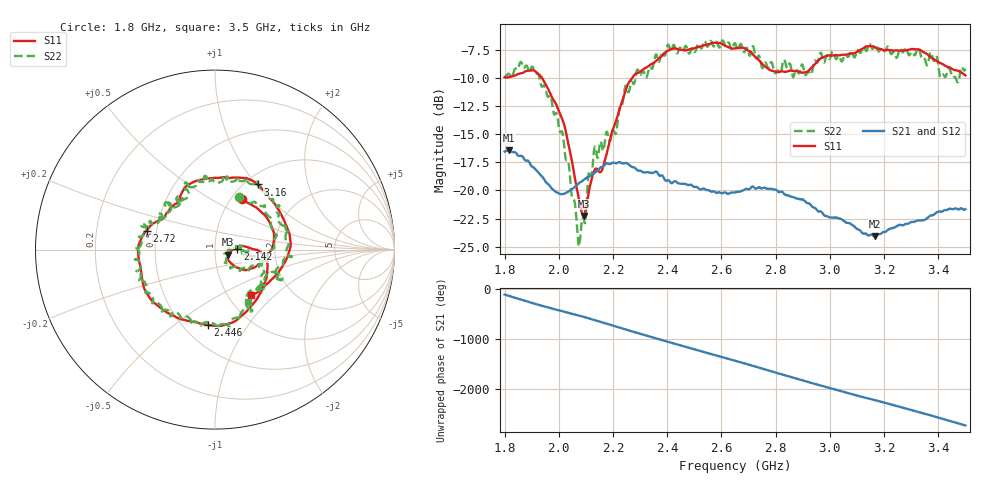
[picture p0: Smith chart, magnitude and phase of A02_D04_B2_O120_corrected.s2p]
! Created with skrf 1.9.0 (http://scikit-rf.org).
# Hz S RI R 50.0
!freq ReS11 ImS11 ReS21 ImS21 ReS12 ImS12 ReS22 ImS22
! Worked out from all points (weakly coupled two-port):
!   1601 points, 1.8 GHz to 3.5 GHz, reference 50 ohm
!   highest |S21| = -16.45 dB at 1.817 GHz (marker M1); lowest = -24.1 dB at 3.165 GHz (marker M2)
!   lowest |S11| = -22.2 dB at 2.091 GHz (marker M3), VSWR 1.17, Z = 57.7 - j3.19 ohm
!   |S11| at or under -10 dB: 1.938 GHz to 2.271 GHz (333.9 MHz wide, 15.9 % of centre)
!   |S22| runs from -24.9 to -6.7 dB; largest |S21 - S12| = 0.0024
!   S11 on the Smith chart (normalised r, x): 1.8 GHz: 1.12, +0.70; 2.142 GHz: 1.28, +0.00; 2.446 GHz: 0.65, -0.67; 2.72 GHz: 0.44, +0.11; 3.16 GHz: 1.14, +1.02; 3.5 GHz: 1.27, -0.72
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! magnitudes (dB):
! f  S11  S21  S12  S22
! 1.8 GHz  -10.0  -16.6  -16.5  -9.8
! 1.817 GHz  -9.9  -16.4  -16.4  -9.7
! 1.903 GHz  -9.3  -17.9  -17.9  -9.0
! 1.968 GHz  -11.4  -19.6  -19.7  -11.6
! 2.015 GHz  -13.8  -20.3  -20.3  -15.0
! 2.072 GHz  -20.5  -19.4  -19.4  -24.7
! 2.084 GHz  -21.9  -19.2  -19.1  -23.0
! 2.091 GHz  -22.2  -19.1  -19.1  -22.4
! 2.112 GHz  -19.9  -18.7  -18.7  -18.3
! 2.142 GHz  -18.1  -18.2  -18.2  -17.1
! 2.209 GHz  -14.0  -17.6  -17.5  -15.0
! 2.258 GHz  -10.4  -17.7  -17.7  -11.3
! 2.367 GHz  -8.3  -18.6  -18.5  -8.5
! 2.446 GHz  -7.5  -19.4  -19.4  -7.3
! 2.65 GHz  -7.4  -20.2  -20.1  -6.9
! 2.72 GHz  -8.1  -19.7  -19.6  -7.4
! 2.802 GHz  -9.5  -19.9  -20.0  -9.5
! 2.934 GHz  -9.1  -21.4  -21.4  -9.5
! 3.16 GHz  -7.2  -24.0  -23.9  -7.4
! 3.165 GHz  -7.3  -24.1  -24.0  -7.1
! 3.217 GHz  -7.5  -23.4  -23.4  -7.4
! 3.5 GHz  -9.8  -21.7  -21.6  -9.2
